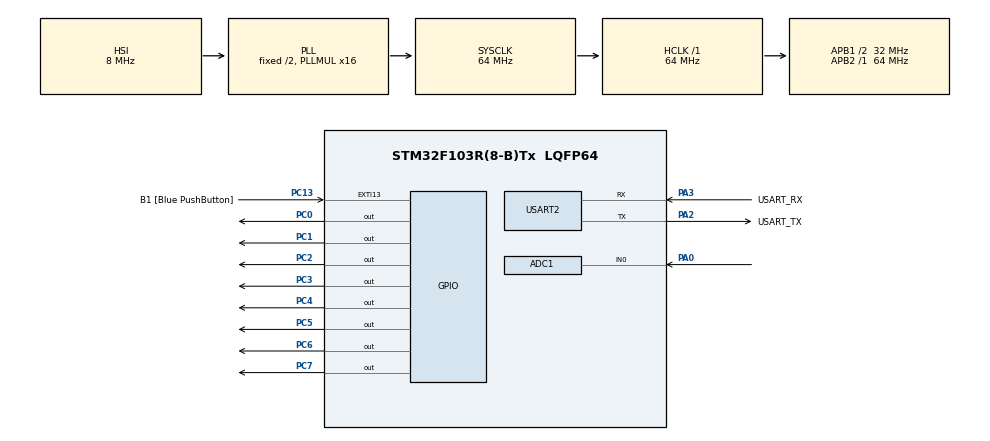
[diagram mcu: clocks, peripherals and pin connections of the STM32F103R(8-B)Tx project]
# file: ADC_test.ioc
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ADC1.Channel-2\#ChannelRegularConversion=ADC_CHANNEL_0
ADC1.NbrOfConversion=1
ADC1.NbrOfConversionFlag=1
ADC1.Rank-2\#ChannelRegularConversion=1
ADC1.SamplingTime-2\#ChannelRegularConversion=ADC_SAMPLETIME_239CYCLES_5
ADC1.master=1
Mcu.Family=STM32F1
Mcu.Name=STM32F103R(8-B)Tx
Mcu.Package=LQFP64
NVIC.EXTI15_10_IRQn=true\:0\:0\:false\:false\:true\:true\:true\:true
NVIC.PriorityGroup=NVIC_PRIORITYGROUP_4
PA0-WKUP.Signal=ADCx_IN0
PA13.GPIO_Label=TMS
PA13.Mode=Serial_Wire
PA13.Signal=SYS_JTMS-SWDIO
PA14.GPIO_Label=TCK
PA14.Mode=Serial_Wire
PA14.Signal=SYS_JTCK-SWCLK
PA2.GPIO_Label=USART_TX
PA2.GPIO_Mode=GPIO_MODE_AF_PP
PA2.GPIO_PuPd=GPIO_NOPULL
PA2.GPIO_Speed=GPIO_SPEED_FREQ_LOW
PA2.Mode=Asynchronous
PA2.Signal=USART2_TX
PA3.GPIO_Label=USART_RX
PA3.GPIO_Mode=GPIO_MODE_AF_PP
PA3.GPIO_PuPd=GPIO_NOPULL
PA3.GPIO_Speed=GPIO_SPEED_FREQ_LOW
PA3.Mode=Asynchronous
PA3.Signal=USART2_RX
PB3.GPIO_Label=SWO
PB3.Signal=SYS_JTDO-TRACESWO
PC0.Signal=GPIO_Output
PC1.Signal=GPIO_Output
PC13-TAMPER-RTC.GPIO_Label=B1 [Blue PushButton]
PC13-TAMPER-RTC.GPIO_PuPd=GPIO_NOPULL
PC13-TAMPER-RTC.Signal=GPXTI13
PC14-OSC32_IN.Mode=LSE-External-Oscillator
PC14-OSC32_IN.Signal=RCC_OSC32_IN
PC15-OSC32_OUT.Mode=LSE-External-Oscillator
PC15-OSC32_OUT.Signal=RCC_OSC32_OUT
PC2.Signal=GPIO_Output
PC3.Signal=GPIO_Output
PC4.Signal=GPIO_Output
PC5.Signal=GPIO_Output
PC6.Signal=GPIO_Output
PC7.Signal=GPIO_Output
PD0-OSC_IN.Mode=HSE-External-Clock-Source
PD0-OSC_IN.Signal=RCC_OSC_IN
PD1-OSC_OUT.Mode=HSE-External-Clock-Source
PD1-OSC_OUT.Signal=RCC_OSC_OUT
ProjectManager.HeapSize=0x200
ProjectManager.StackSize=0x400
ProjectManager.TargetToolchain=STM32CubeIDE
RCC.ADCPresc=RCC_ADCPCLK2_DIV8
RCC.AHBFreq_Value=64000000
RCC.APB1CLKDivider=RCC_HCLK_DIV2
RCC.APB1Freq_Value=32000000
RCC.APB1TimFreq_Value=64000000
RCC.APB2Freq_Value=64000000
RCC.APB2TimFreq_Value=64000000
RCC.HCLKFreq_Value=64000000
RCC.PLLMUL=RCC_PLL_MUL16
RCC.RTCClockSelection=RCC_RTCCLKSOURCE_LSE
RCC.SYSCLKFreq_VALUE=64000000
RCC.SYSCLKSource=RCC_SYSCLKSOURCE_PLLCLK
RCC.USBFreq_Value=64000000
SH.ADCx_IN0.0=ADC1_IN0,IN0
TIM2.Channel-Output\ Compare1\ No\ Output=TIM_CHANNEL_1
TIM2.Period=10000-1
TIM2.Prescaler=6400-1
TIM2.Pulse-Output\ Compare1\ No\ Output=1000-1
USART2.VirtualMode=VM_ASYNC
VP_TIM2_VS_no_output1.Mode=Output Compare1 No Output
board=NUCLEO-F103RB

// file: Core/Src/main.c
/* USER CODE BEGIN Header */
/**
  ******************************************************************************
  * @file           : main.c
  * @brief          : Main program body
  ******************************************************************************
  * @attention
  *
  * Copyright (c) 2022 STMicroelectronics.
  * All rights reserved.
  *
  * This software is licensed under terms that can be found in the LICENSE file
  * in the root directory of this software component.
  * If no LICENSE file comes with this software, it is provided AS-IS.
  *
  ******************************************************************************
  */
/* USER CODE END Header */
#include "main.h"

 ADC_HandleTypeDef hadc1;

TIM_HandleTypeDef htim2;

UART_HandleTypeDef huart2;

void SystemClock_Config(void);
static void MX_GPIO_Init(void);
static void MX_USART2_UART_Init(void);
static void MX_ADC1_Init(void);
static void MX_TIM2_Init(void);
/* USER CODE BEGIN PFP */
#ifdef __GNUC__
/* With GCC, small printf (option LD Linker->Libraries->Small printf
   set to 'Yes') calls __io_putchar() */
#define PUTCHAR_PROTOTYPE int __io_putchar(int ch)
#else
#define PUTCHAR_PROTOTYPE int fputc(int ch, FILE *f)
#endif /* __GNUC__ */

PUTCHAR_PROTOTYPE
{
  /* Place your implementation of fputc here */
  /* e.g. write a character to the USART1 and Loop until the end of transmission */
  HAL_UART_Transmit(&huart2, (uint8_t *)&ch, 1, 0xFFFF);

  return ch;
}
/* USER CODE END PFP */

int main(void)
{

  /* MCU Configuration--------------------------------------------------------*/

  /* Reset of all peripherals, Initializes the Flash interface and the Systick. */
  HAL_Init();

  /* Configure the system clock */
  SystemClock_Config();

  /* Initialize all configured peripherals */
  MX_GPIO_Init();
  MX_USART2_UART_Init();
  MX_ADC1_Init();
  MX_TIM2_Init();
  /* USER CODE BEGIN 2 */
uint32_t adc_value = 0;
  /* USER CODE END 2 */

  /* Infinite loop */
  while (1)
  {

    /* USER CODE BEGIN 3 */
	  HAL_ADC_Start(&hadc1);
	  HAL_ADC_PollForConversion(&hadc1, 10);
	  adc_value = HAL_ADC_GetValue(&hadc1);
	  HAL_GPIO_WritePin(GPIOC, GPIO_PIN_All, adc_value);
	  printf("ADC Value = %u\n\r", adc_value);
	  HAL_Delay(1000);
  }
  /* USER CODE END 3 */
}

void SystemClock_Config(void)
{
  RCC_OscInitTypeDef RCC_OscInitStruct = {0};
  RCC_ClkInitTypeDef RCC_ClkInitStruct = {0};
  RCC_PeriphCLKInitTypeDef PeriphClkInit = {0};

  /** Initializes the RCC Oscillators according to the specified parameters
  * in the RCC_OscInitTypeDef structure.
  */
  RCC_OscInitStruct.OscillatorType = RCC_OSCILLATORTYPE_HSI;
  RCC_OscInitStruct.HSIState = RCC_HSI_ON;
  RCC_OscInitStruct.HSICalibrationValue = RCC_HSICALIBRATION_DEFAULT;
  RCC_OscInitStruct.PLL.PLLState = RCC_PLL_ON;
  RCC_OscInitStruct.PLL.PLLSource = RCC_PLLSOURCE_HSI_DIV2;
  RCC_OscInitStruct.PLL.PLLMUL = RCC_PLL_MUL16;
  if (HAL_RCC_OscConfig(&RCC_OscInitStruct) != HAL_OK)
  {
    Error_Handler();
  }

  /** Initializes the CPU, AHB and APB buses clocks
  */
  RCC_ClkInitStruct.ClockType = RCC_CLOCKTYPE_HCLK|RCC_CLOCKTYPE_SYSCLK
                              |RCC_CLOCKTYPE_PCLK1|RCC_CLOCKTYPE_PCLK2;
  RCC_ClkInitStruct.SYSCLKSource = RCC_SYSCLKSOURCE_PLLCLK;
  RCC_ClkInitStruct.AHBCLKDivider = RCC_SYSCLK_DIV1;
  RCC_ClkInitStruct.APB1CLKDivider = RCC_HCLK_DIV2;
  RCC_ClkInitStruct.APB2CLKDivider = RCC_HCLK_DIV1;

  if (HAL_RCC_ClockConfig(&RCC_ClkInitStruct, FLASH_LATENCY_2) != HAL_OK)
  {
    Error_Handler();
  }
  PeriphClkInit.PeriphClockSelection = RCC_PERIPHCLK_ADC;
  PeriphClkInit.AdcClockSelection = RCC_ADCPCLK2_DIV8;
  if (HAL_RCCEx_PeriphCLKConfig(&PeriphClkInit) != HAL_OK)
  {
    Error_Handler();
  }
}

static void MX_ADC1_Init(void)
{

  ADC_ChannelConfTypeDef sConfig = {0};

  /** Common config
  */
  hadc1.Instance = ADC1;
  hadc1.Init.ScanConvMode = ADC_SCAN_DISABLE;
  hadc1.Init.ContinuousConvMode = DISABLE;
  hadc1.Init.DiscontinuousConvMode = DISABLE;
  hadc1.Init.ExternalTrigConv = ADC_SOFTWARE_START;
  hadc1.Init.DataAlign = ADC_DATAALIGN_RIGHT;
  hadc1.Init.NbrOfConversion = 1;
  if (HAL_ADC_Init(&hadc1) != HAL_OK)
  {
    Error_Handler();
  }

  /** Configure Regular Channel
  */
  sConfig.Channel = ADC_CHANNEL_0;
  sConfig.Rank = ADC_REGULAR_RANK_1;
  sConfig.SamplingTime = ADC_SAMPLETIME_239CYCLES_5;
  if (HAL_ADC_ConfigChannel(&hadc1, &sConfig) != HAL_OK)
  {
    Error_Handler();
  }

}

static void MX_TIM2_Init(void)
{

  TIM_MasterConfigTypeDef sMasterConfig = {0};
  TIM_OC_InitTypeDef sConfigOC = {0};

  htim2.Instance = TIM2;
  htim2.Init.Prescaler = 6400-1;
  htim2.Init.CounterMode = TIM_COUNTERMODE_UP;
  htim2.Init.Period = 10000-1;
  htim2.Init.ClockDivision = TIM_CLOCKDIVISION_DIV1;
  htim2.Init.AutoReloadPreload = TIM_AUTORELOAD_PRELOAD_DISABLE;
  if (HAL_TIM_OC_Init(&htim2) != HAL_OK)
  {
    Error_Handler();
  }
  sMasterConfig.MasterOutputTrigger = TIM_TRGO_RESET;
  sMasterConfig.MasterSlaveMode = TIM_MASTERSLAVEMODE_DISABLE;
  if (HAL_TIMEx_MasterConfigSynchronization(&htim2, &sMasterConfig) != HAL_OK)
  {
    Error_Handler();
  }
  sConfigOC.OCMode = TIM_OCMODE_TIMING;
  sConfigOC.Pulse = 1000-1;
  sConfigOC.OCPolarity = TIM_OCPOLARITY_HIGH;
  sConfigOC.OCFastMode = TIM_OCFAST_DISABLE;
  if (HAL_TIM_OC_ConfigChannel(&htim2, &sConfigOC, TIM_CHANNEL_1) != HAL_OK)
  {
    Error_Handler();
  }

}

static void MX_USART2_UART_Init(void)
{

  huart2.Instance = USART2;
  huart2.Init.BaudRate = 9600;
  huart2.Init.WordLength = UART_WORDLENGTH_8B;
  huart2.Init.StopBits = UART_STOPBITS_1;
  huart2.Init.Parity = UART_PARITY_NONE;
  huart2.Init.Mode = UART_MODE_TX_RX;
  huart2.Init.HwFlowCtl = UART_HWCONTROL_NONE;
  huart2.Init.OverSampling = UART_OVERSAMPLING_16;
  if (HAL_UART_Init(&huart2) != HAL_OK)
  {
    Error_Handler();
  }

}

static void MX_GPIO_Init(void)
{
  GPIO_InitTypeDef GPIO_InitStruct = {0};

  /* GPIO Ports Clock Enable */
  __HAL_RCC_GPIOC_CLK_ENABLE();
  __HAL_RCC_GPIOD_CLK_ENABLE();
  __HAL_RCC_GPIOA_CLK_ENABLE();
  __HAL_RCC_GPIOB_CLK_ENABLE();

  /*Configure GPIO pin Output Level */
  HAL_GPIO_WritePin(GPIOC, GPIO_PIN_0|GPIO_PIN_1|GPIO_PIN_2|GPIO_PIN_3
                          |GPIO_PIN_4|GPIO_PIN_5|GPIO_PIN_6|GPIO_PIN_7, GPIO_PIN_RESET);

  /*Configure GPIO pin : B1_Pin */
  GPIO_InitStruct.Pin = B1_Pin;
  GPIO_InitStruct.Mode = GPIO_MODE_IT_RISING;
  GPIO_InitStruct.Pull = GPIO_NOPULL;
  HAL_GPIO_Init(B1_GPIO_Port, &GPIO_InitStruct);

  /*Configure GPIO pins : PC0 PC1 PC2 PC3
                           PC4 PC5 PC6 PC7 */
  GPIO_InitStruct.Pin = GPIO_PIN_0|GPIO_PIN_1|GPIO_PIN_2|GPIO_PIN_3
                          |GPIO_PIN_4|GPIO_PIN_5|GPIO_PIN_6|GPIO_PIN_7;
  GPIO_InitStruct.Mode = GPIO_MODE_OUTPUT_PP;
  GPIO_InitStruct.Pull = GPIO_NOPULL;
  GPIO_InitStruct.Speed = GPIO_SPEED_FREQ_LOW;
  HAL_GPIO_Init(GPIOC, &GPIO_InitStruct);

  /* EXTI interrupt init*/
  HAL_NVIC_SetPriority(EXTI15_10_IRQn, 0, 0);
  HAL_NVIC_EnableIRQ(EXTI15_10_IRQn);

}

void Error_Handler(void)
{
  __disable_irq();
  while (1)
  {
  }
}
